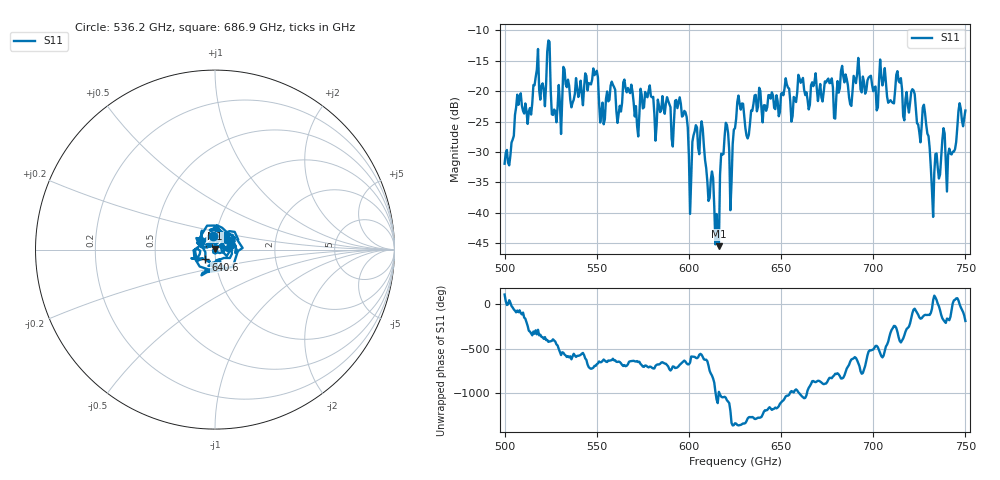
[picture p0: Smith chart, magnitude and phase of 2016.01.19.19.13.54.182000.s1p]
!Created with skrf (http://scikit-rf.org).
# GHz S RI R 50.0
!freq ReS11 ImS11
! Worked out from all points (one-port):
!   401 points, 500 GHz to 750 GHz, reference 50 ohm
!   lowest |S11| = -45.5 dB at 616.2 GHz (marker M1), VSWR 1.01, Z = 50 + j0.532 ohm
!   |S11| at or under -10 dB: start of sweep to end of sweep
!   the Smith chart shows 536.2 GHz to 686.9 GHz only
!   S11 on the Smith chart (normalised r, x): 536.2 GHz: 0.97, +0.14; 640.6 GHz: 0.89, -0.10; 686.9 GHz: 1.15, +0.12
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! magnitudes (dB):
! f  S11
! 500 GHz  -31.9
! 516.9 GHz  -17.6
! 523.8 GHz  -11.6
! 526.9 GHz  -23.0
! 531.2 GHz  -21.7
! 536.2 GHz  -22.6
! 549.4 GHz  -17.0
! 553.1 GHz  -21.9
! 558.8 GHz  -18.9
! 562.5 GHz  -22.4
! 593.8 GHz  -22.8
! 600.6 GHz  -40.2
! 607.5 GHz  -26.2
! 615 GHz  -40.2
! 616.2 GHz  -45.5
! 619.4 GHz  -27.4
! 623.1 GHz  -34.9
! 625 GHz  -26.1
! 640.6 GHz  -22.3
! 656.2 GHz  -24.1
! 660.6 GHz  -18.6
! 686.9 GHz  -21.0
! 687.5 GHz  -22.1
! 705 GHz  -19.0
! 718.8 GHz  -22.3
! 728.1 GHz  -23.7
! 732.5 GHz  -40.7
! 750 GHz  -23.2
